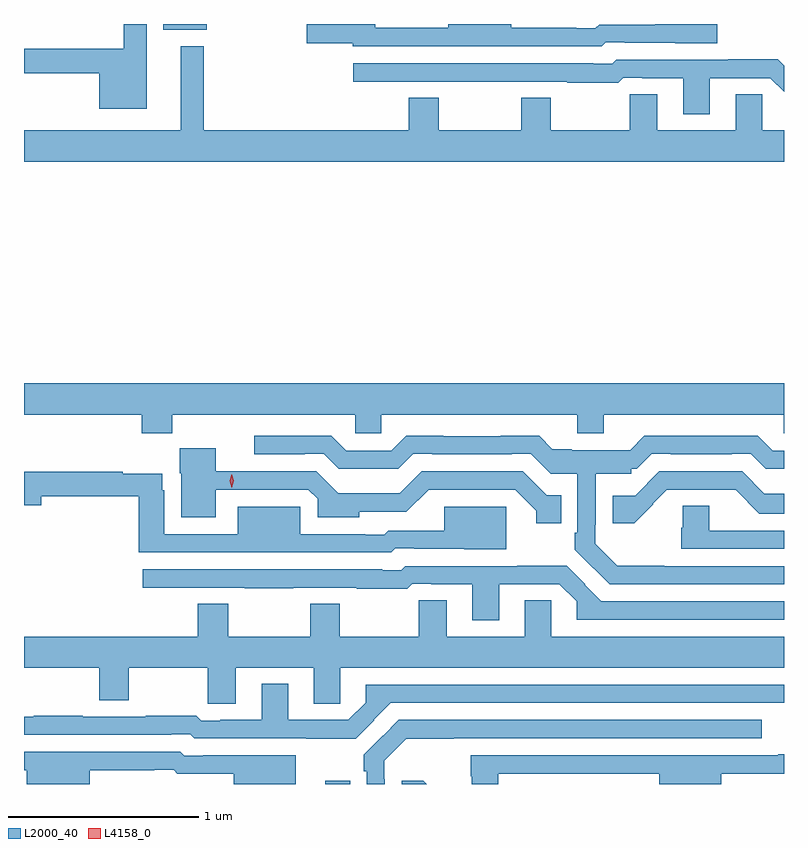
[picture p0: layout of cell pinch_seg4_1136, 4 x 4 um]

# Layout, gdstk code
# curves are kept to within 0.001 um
import gdstk
lib = gdstk.Library(unit=1e-6, precision=1e-09)
def R(c, l, rs):  # rectangles x0, y0, x1, y1
    for r in rs: c.add(gdstk.rectangle(r[:2], r[2:], *l))
def P(c, l, *ps):  # polygons
    for p in ps: c.add(gdstk.Polygon(p, *l))
L2000_40 = (2000, 40)
L4158_0 = (4158, 0)

pinch_seg4_1136 = lib.new_cell('pinch_seg4_1136')
R(pinch_seg4_1136, L2000_40, [(444.275,761.576,444.407,761.593), (443.423,765.545,443.65,765.576)])
P(pinch_seg4_1136, L2000_40, [(445.752,765.48),(445.852,765.48),(445.852,765.477),(446.338,765.476),(446.338,765.576),(446.012,765.576),(446.012,765.573),(445.716,765.573),(445.696,765.553),(445.595,765.553),(445.595,765.555),(445.254,765.555),(445.254,765.576),(444.923,765.576),(444.923,765.555),(444.538,765.555),(444.538,765.576),(444.176,765.576),(444.176,765.476),(444.42,765.476),(444.42,765.459),(445.731,765.459)],
  [(443.335,765.576),(443.214,765.576),(443.214,765.446),(442.689,765.446),(442.689,765.318),(443.084,765.318),(443.084,765.131),(443.335,765.131)],
  [(446.689,765.016),(446.574,765.016),(446.574,765.206),(446.435,765.206),(446.435,765.016),(446.023,765.016),(446.023,765.206),(445.876,765.206),(445.876,765.016),(445.461,765.016),(445.461,765.188),(445.306,765.188),(445.306,765.016),(444.873,765.016),(444.873,765.188),(444.713,765.188),(444.713,765.016),(443.635,765.016),(443.635,765.46),(443.513,765.46),(443.513,765.016),(442.689,765.016),(442.689,764.852),(446.689,764.852)],
  [(446.299,765.291),(446.616,765.291),(446.689,765.219),(446.689,765.356),(446.655,765.39),(446.395,765.39),(446.395,765.387),(445.806,765.387),(445.785,765.366),(445.685,765.366),(445.685,765.369),(444.423,765.369),(444.423,765.273),(444.961,765.273),(444.961,765.271),(445.217,765.271),(445.217,765.273),(445.549,765.273),(445.549,765.268),(445.816,765.268),(445.842,765.294),(445.942,765.294),(445.942,765.291),(446.159,765.291),(446.159,765.102),(446.299,765.102)],
  [(443.469,763.52),(444.432,763.52),(444.432,763.422),(444.57,763.422),(444.57,763.52),(445.601,763.52),(445.601,763.421),(445.741,763.421),(445.741,763.52),(446.688,763.52),(446.688,763.422),(446.689,763.422),(446.689,763.684),(442.689,763.684),(442.689,763.52),(443.309,763.52),(443.309,763.421),(443.469,763.421)],
  [(446.689,762.723),(446.06,762.723),(446.06,762.725),(445.811,762.725),(445.695,762.841),(445.695,762.94),(445.698,762.94),(445.698,763.209),(445.884,763.209),(445.884,763.236),(445.914,763.236),(445.992,763.314),(446.092,763.314),(446.092,763.311),(446.414,763.311),(446.414,763.314),(446.514,763.314),(446.592,763.236),(446.689,763.236),(446.689,763.329),(446.631,763.329),(446.552,763.408),(445.954,763.408),(445.879,763.333),(445.573,763.333),(445.573,763.338),(445.47,763.338),(445.4,763.408),(444.7,763.408),(444.621,763.329),(444.384,763.329),(444.305,763.408),(443.901,763.408),(443.901,763.311),(444.167,763.311),(444.167,763.314),(444.267,763.314),(444.345,763.236),(444.66,763.236),(444.738,763.314),(444.838,763.314),(444.838,763.311),(445.256,763.311),(445.256,763.314),(445.356,763.314),(445.461,763.209),(445.602,763.209),(445.602,762.898),(445.587,762.898),(445.587,762.81),(445.772,762.627),(446.689,762.627)],
  [(445.517,763.095),(445.441,763.095),(445.315,763.221),(444.783,763.221),(444.667,763.105),(444.342,763.105),(444.226,763.221),(443.698,763.221),(443.698,763.342),(443.51,763.342),(443.51,763.212),(443.516,763.212),(443.516,762.98),(443.698,762.98),(443.698,763.125),(444.186,763.125),(444.234,763.077),(444.234,762.98),(444.453,762.98),(444.453,763.008),(444.702,763.008),(444.819,763.125),(445.275,763.125),(445.385,763.015),(445.385,762.948),(445.517,762.948)],
  [(446.002,763.048),(445.999,763.051),(446.073,763.125),(446.435,763.124),(446.56,762.998),(446.689,762.998),(446.689,763.104),(446.586,763.104),(446.469,763.221),(446.033,763.221),(445.905,763.094),(445.787,763.094),(445.787,762.948),(445.901,762.948)],
  [(444.642,762.816),(444.742,762.816),(444.742,762.813),(445.228,762.812),(445.228,763.036),(444.902,763.036),(444.902,762.909),(444.606,762.909),(444.586,762.889),(444.485,762.889),(444.485,762.891),(444.144,762.891),(444.144,763.036),(443.813,763.036),(443.813,762.891),(443.428,762.891),(443.428,763.122),(443.416,763.122),(443.416,763.208),(443.21,763.208),(443.21,763.219),(442.689,763.219),(442.689,763.043),(442.78,763.043),(442.78,763.09),(443.294,763.09),(443.294,762.795),(444.621,762.795)],
  [(446.689,762.909),(446.296,762.909),(446.296,763.04),(446.156,763.04),(446.156,762.924),(446.149,762.924),(446.149,762.813),(446.689,762.813)],
  [(445.189,762.627),(445.506,762.627),(445.597,762.537),(445.597,762.441),(446.689,762.441),(446.689,762.537),(445.728,762.537),(445.64,762.625),(445.643,762.628),(445.545,762.726),(445.285,762.726),(445.285,762.723),(444.696,762.723),(444.675,762.702),(444.575,762.702),(444.575,762.705),(443.313,762.705),(443.313,762.609),(443.851,762.609),(443.851,762.607),(444.107,762.607),(444.107,762.609),(444.439,762.609),(444.439,762.604),(444.706,762.604),(444.732,762.63),(444.832,762.63),(444.832,762.627),(445.049,762.627),(445.049,762.438),(445.189,762.438)],
  [(445.325,762.542),(445.325,762.352),(444.913,762.352),(444.913,762.542),(444.766,762.542),(444.766,762.352),(444.351,762.352),(444.351,762.524),(444.196,762.524),(444.196,762.352),(443.763,762.352),(443.763,762.524),(443.603,762.524),(443.603,762.352),(442.689,762.352),(442.689,762.188),(443.086,762.188),(443.086,762.016),(443.241,762.016),(443.241,762.188),(443.656,762.188),(443.656,761.998),(443.803,761.998),(443.803,762.188),(444.215,762.188),(444.215,761.998),(444.354,761.998),(444.354,762.188),(446.689,762.188),(446.689,762.352),(445.464,762.352),(445.464,762.542)],
  [(444.533,761.912),(444.53,761.915),(444.618,762.003),(446.689,762.003),(446.689,762.099),(444.487,762.099),(444.487,762.004),(444.396,761.913),(444.079,761.913),(444.079,762.103),(443.939,762.103),(443.939,761.913),(443.722,761.913),(443.722,761.91),(443.622,761.91),(443.596,761.936),(443.329,761.936),(443.329,761.931),(442.997,761.931),(442.997,761.934),(442.741,761.934),(442.741,761.931),(442.689,761.931),(442.689,761.835),(443.465,761.835),(443.465,761.838),(443.565,761.838),(443.586,761.817),(444.175,761.817),(444.175,761.815),(444.435,761.815)],
  [(444.588,761.6),(444.585,761.6),(444.585,761.699),(444.701,761.815),(444.95,761.815),(444.95,761.817),(446.572,761.817),(446.572,761.913),(444.662,761.913),(444.477,761.73),(444.477,761.642),(444.492,761.642),(444.492,761.576),(444.588,761.576)],
  [(443.034,761.649),(443.375,761.649),(443.375,761.651),(443.476,761.651),(443.496,761.631),(443.792,761.631),(443.792,761.576),(444.118,761.576),(444.118,761.728),(443.632,761.727),(443.632,761.724),(443.532,761.724),(443.511,761.745),(442.689,761.745),(442.689,761.649),(442.703,761.649),(442.703,761.576),(443.034,761.576)],
  [(445.186,761.631),(446.033,761.631),(446.033,761.576),(446.359,761.576),(446.359,761.631),(446.689,761.631),(446.689,761.732),(446.659,761.732),(446.659,761.727),(445.039,761.727),(445.039,761.616),(445.046,761.616),(445.046,761.576),(445.186,761.576)],
  [(444.791,761.593),(444.677,761.593),(444.677,761.576),(444.808,761.576)])
P(pinch_seg4_1136, L4158_0, [(443.783,763.136),(443.783,763.136),(443.773,763.171),(443.783,763.206),(443.783,763.207),(443.783,763.206),(443.793,763.171),(443.783,763.136)])

lib.write_gds('pinch_seg4_1136.gds')
